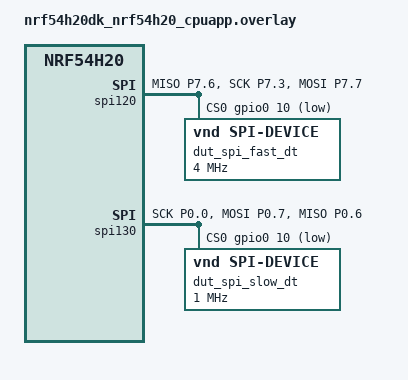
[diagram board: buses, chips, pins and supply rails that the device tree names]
/*
 * Copyright (c) 2026 Nordic Semiconductor ASA
 *
 * SPDX-License-Identifier: LicenseRef-Nordic-5-Clause
 */

&pinctrl {
	spi120_default: spi120_default {
		group1 {
			psels = <NRF_PSEL(SPIM_MISO, 7, 6)>;
		};

		group2 {
			psels = <NRF_PSEL(SPIM_SCK, 7, 3)>,
				<NRF_PSEL(SPIM_MOSI, 7, 7)>;
			nordic,drive-mode = <NRF_DRIVE_E0E1>;
		};
	};

	spi120_sleep: spi120_sleep {
		group1 {
			psels = <NRF_PSEL(SPIM_SCK, 7, 3)>,
				<NRF_PSEL(SPIM_MISO, 7, 6)>,
				<NRF_PSEL(SPIM_MOSI, 7, 7)>;
			low-power-enable;
		};
	};

	spi130_default: spi130_default {
		group1 {
			psels = <NRF_PSEL(SPIM_SCK, 0, 0)>,
				<NRF_PSEL(SPIM_MOSI, 0, 7)>,
				<NRF_PSEL(SPIM_MISO, 0, 6)>;
		};
	};

	spi130_sleep: spi130_sleep {
		group1 {
			psels = <NRF_PSEL(SPIM_SCK, 0, 0)>,
				<NRF_PSEL(SPIM_MISO, 0, 6)>,
				<NRF_PSEL(SPIM_MOSI, 0, 7)>;
			low-power-enable;
		};
	};

};

dut_spi_fast: &spi120 {
	compatible = "nordic,nrf-spim";
	status = "okay";
	pinctrl-0 = <&spi120_default>;
	pinctrl-1 = <&spi120_sleep>;
	pinctrl-names = "default", "sleep";
	overrun-character = <0x00>;
	memory-regions = <&dma_fast_region>;
	cs-gpios = <&gpio0 10 GPIO_ACTIVE_LOW>;
	zephyr,pm-device-runtime-auto;
	rx-delay = <1>;

	dut_spi_fast_dt: test-spi-dev@0 {
		compatible = "vnd,spi-device";
		reg = <0>;
		spi-max-frequency = <DT_FREQ_M(4)>;
	};
};

dut_spi_slow: &spi130 {
	compatible = "nordic,nrf-spim";
	status = "okay";
	pinctrl-0 = <&spi130_default>;
	pinctrl-1 = <&spi130_sleep>;
	pinctrl-names = "default", "sleep";
	overrun-character = <0x00>;
	memory-regions = <&cpuapp_dma_region>;
	cs-gpios = <&gpio0 10 GPIO_ACTIVE_LOW>;
	zephyr,pm-device-runtime-auto;
	rx-delay = <1>;

	dut_spi_slow_dt: test-spi-dev@0 {
		compatible = "vnd,spi-device";
		reg = <0>;
		spi-max-frequency = <DT_FREQ_M(1)>;
	};
};

&exmif {
	status = "disabled";
};

&dma_fast_region {
	status = "okay";
};
